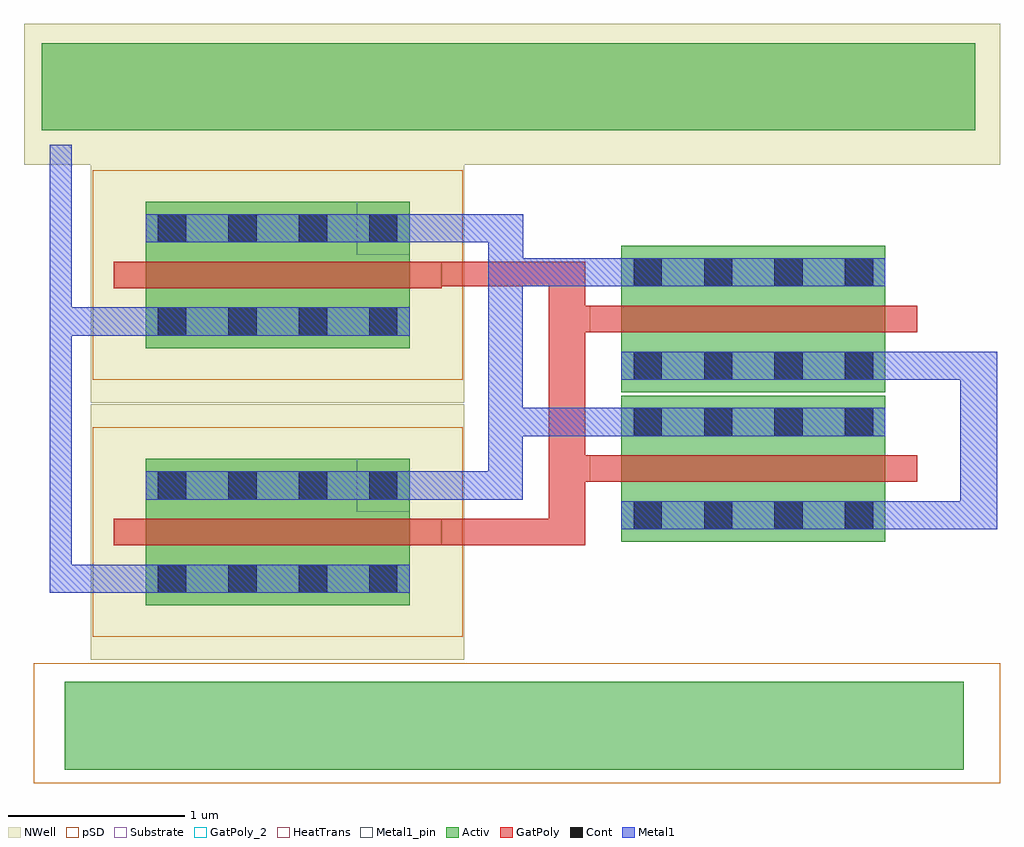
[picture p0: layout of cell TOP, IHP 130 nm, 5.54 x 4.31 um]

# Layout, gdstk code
from math import pi, radians
import gdstk
lib = gdstk.Library(unit=1e-6, precision=5e-09)
def R(c, l, rs):  # rectangles x0, y0, x1, y1
    for r in rs: c.add(gdstk.rectangle(r[:2], r[2:], *l))
def A(c, l, x, y, w, h, nx, ny, dx, dy):  # array of equal rectangles
    R(c, l, [(x+i*dx, y+j*dy, x+i*dx+w, y+j*dy+h) for i in range(nx) for j in range(ny)])
def P(c, l, *ps):  # polygons
    for p in ps: c.add(gdstk.Polygon(p, *l))
Activ = (1, 0)
GatPoly = (5, 0)
GatPoly_2 = (5, 2)
Cont = (6, 0)
Metal1 = (8, 0)
Metal1_pin = (8, 2)
pSD = (14, 0)
NWell = (31, 0)
Substrate = (40, 0)
HeatTrans = (51, 0)

nmos_1 = lib.new_cell('nmos$1')
R(nmos_1, Activ, [(0,0,0.3,0.3), (0,0,0.83,1.5), (0.53,0,0.83,0.3)])
R(nmos_1, GatPoly, [(0.34,-0.18,0.49,1.68)])
R(nmos_1, GatPoly_2, [(0.34,-0.18,0.49,1.68)])
A(nmos_1, Cont, 0.07, 0.07, 0.16, 0.16, 1, 4, 0, 0.4)
A(nmos_1, Cont, 0.6, 0.07, 0.16, 0.16, 1, 4, 0, 0.4)
R(nmos_1, Metal1, [(0.07,0,0.23,1.5), (0.6,0,0.76,1.5)])
R(nmos_1, Metal1_pin, [(0.07,0,0.23,1.5), (0.6,0,0.76,1.5)])
R(nmos_1, HeatTrans, [(0.34,-0.18,0.49,1.68)])
nmos_1.add(gdstk.Label('nmos', (0.415,0.75), layer=63, texttype=0))
nmos_1.add(gdstk.Label('nmos', (0.415,0.75), layer=51, texttype=0))

pmos = lib.new_cell('pmos')
R(pmos, Activ, [(0,0,0.3,0.3), (0,0,0.83,1.5), (0.53,0,0.83,0.3)])
R(pmos, GatPoly, [(0.34,-0.18,0.49,1.68), (0.34,-0.18,0.49,1.68)])
A(pmos, Cont, 0.07, 0.07, 0.16, 0.16, 1, 4, 0, 0.4)
A(pmos, Cont, 0.6, 0.07, 0.16, 0.16, 1, 4, 0, 0.4)
R(pmos, Metal1, [(0.07,0,0.23,1.5), (0.07,0,0.23,1.5), (0.6,0,0.76,1.5), (0.6,0,0.76,1.5)])
R(pmos, pSD, [(-0.18,-0.3,1.01,1.8)])
R(pmos, NWell, [(-0.31,-0.31,1.14,1.81)])
R(pmos, Substrate, [(0.53,0,0.83,0.3)])
R(pmos, HeatTrans, [(0.34,-0.18,0.49,1.68)])
pmos.add(gdstk.Label('pmos', (0.415,0.75), layer=63, texttype=0))
pmos.add(gdstk.Label('pmos', (0.415,0.75), layer=51, texttype=0))

top = lib.new_cell('TOP')
R(top, Activ, [(-3.76,-0.135,1.345,0.365), (-3.89,3.495,1.41,3.99)])
P(top, GatPoly, [(-1.62,1.14),(-1.62,1.29),(-1.01,1.29),(-1.01,2.61),(-1.62,2.61),(-1.62,2.75),(-0.805,2.75),(-0.805,2.5),(-0.78,2.5),(-0.78,2.35),(-0.805,2.35),(-0.805,1.65),(-0.78,1.65),(-0.78,1.5),(-0.805,1.5),(-0.805,1.14)])
P(top, Metal1, [(0.9,1.23),(0.9,1.39),(1.325,1.39),(1.325,2.08),(0.9,2.08),(0.9,2.24),(1.535,2.24),(1.535,1.23)],
  [(-3.845,0.87),(-3.845,2.33),(-3.845,2.49),(-3.845,3.415),(-3.72,3.415),(-3.72,2.49),(-3.3,2.49),(-3.3,2.33),(-3.72,2.33),(-3.72,1.03),(-3.3,1.03),(-3.3,0.87)],
  [(-1.8,1.4),(-1.8,1.56),(-1.355,1.56),(-1.355,2.86),(-1.8,2.86),(-1.8,3.02),(-1.155,3.02),(-1.155,2.77),(-0.6,2.77),(-0.6,2.61),(-1.16,2.61),(-1.16,1.92),(-0.6,1.92),(-0.6,1.76),(-1.16,1.76),(-1.16,1.4)])
P(top, pSD, [(-3.935,-0.21),(-3.935,0.47),(1.35,0.47),(1.55,0.47),(1.55,-0.21)])
R(top, NWell, [(-3.99,3.3,1.55,4.1)])
top.add(gdstk.Reference(nmos_1, (0.9,1.16), rotation=pi/2))
top.add(gdstk.Reference(pmos, (-1.8,0.8), rotation=pi/2))
top.add(gdstk.Reference(pmos, (-1.8,2.26), rotation=pi/2))
top.add(gdstk.Reference(nmos_1, (0.9,2.01), rotation=pi/2))

lib.write_gds('TOP.gds')
